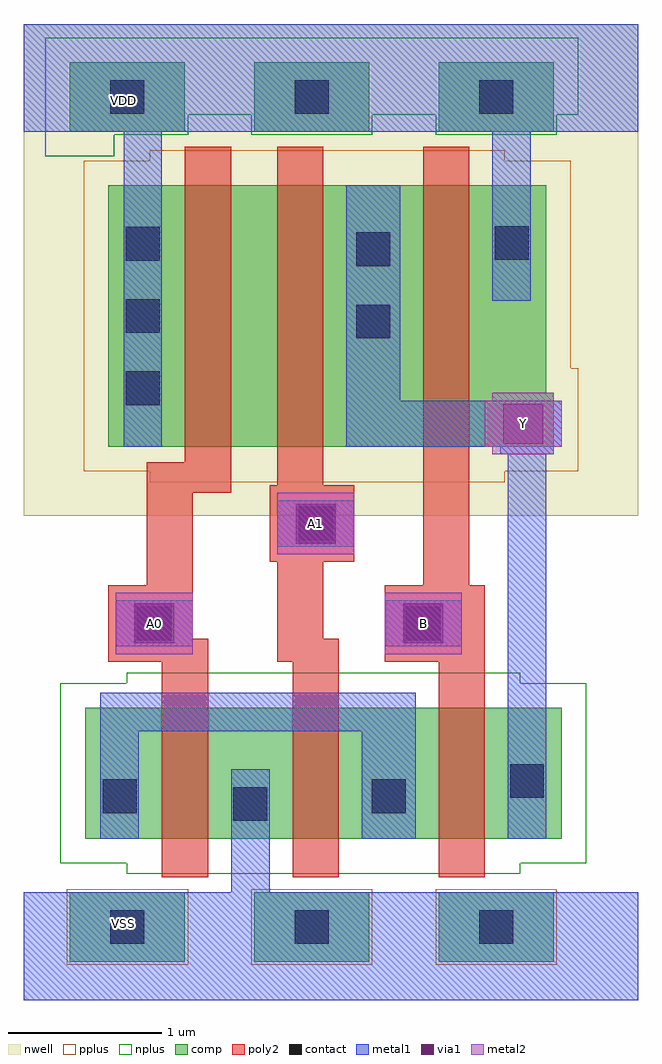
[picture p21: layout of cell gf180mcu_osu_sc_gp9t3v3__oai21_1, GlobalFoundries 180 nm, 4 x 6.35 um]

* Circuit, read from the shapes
.subckt gf180mcu_osu_sc_gp9t3v3__oai21_1 A0 A1 B VDD VSS Y
XM1 VSS A0 n1 VSS nfet_03v3 w=0.85u l=0.3u
XM2 n1 A1 VSS VSS nfet_03v3 w=0.85u l=0.3u
XM3 Y B n1 VSS nfet_03v3 w=0.85u l=0.3u
XM4 n2 A0 VDD VDD pfet_03v3 w=1.7u l=0.3u
XM5 Y A1 n2 VDD pfet_03v3 w=1.7u l=0.3u
XM6 VDD B Y VDD pfet_03v3 w=1.7u l=0.3u
.ends

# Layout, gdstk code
import gdstk
lib = gdstk.Library(unit=1e-6, precision=1e-09)
def R(c, l, rs):  # rectangles x0, y0, x1, y1
    for r in rs: c.add(gdstk.rectangle(r[:2], r[2:], *l))
def A(c, l, x, y, w, h, nx, ny, dx, dy):  # array of equal rectangles
    R(c, l, [(x+i*dx, y+j*dy, x+i*dx+w, y+j*dy+h) for i in range(nx) for j in range(ny)])
nwell = (21, 0)
comp = (22, 0)
poly2 = (30, 0)
pplus = (31, 0)
nplus = (32, 0)
contact = (33, 0)
metal1 = (34, 0)
via1 = (35, 0)
metal2 = (36, 0)

gf180mcu_osu_sc_gp9t3v3_ = lib.new_cell('gf180mcu_osu_sc_gp9t3v3__oai21_1')
R(gf180mcu_osu_sc_gp9t3v3_, nwell, [(0,3.15,4,6.35)])
A(gf180mcu_osu_sc_gp9t3v3_, comp, 0.3, 0.25, 0.75, 0.45, 3, 2, 1.2, 5.4)
R(gf180mcu_osu_sc_gp9t3v3_, comp, [(0.4,1.05,3.5,1.9), (0.55,3.6,3.45,3.95), (0.55,3.95,3.4,5.3)])
R(gf180mcu_osu_sc_gp9t3v3_, poly2, [(0.9,0.8,1.2,2.2), (1.75,0.8,2.05,2.2), (2.7,0.8,3,2.2), (0.55,2.2,1.2,2.35), (1.65,2.2,2.05,2.35), (2.35,2.2,3,2.7), (0.55,2.35,1.1,2.7), (1.65,2.35,1.95,2.85), (0.8,2.7,1.1,3.3), (2.6,2.7,2.9,5.55), (1.6,2.85,2.15,3.35), (0.8,3.3,1.35,3.5), (1.65,3.35,1.95,5.55), (1.05,3.5,1.35,5.55)])
A(gf180mcu_osu_sc_gp9t3v3_, pplus, 0.28, 0.23, 0.79, 0.49, 3, 1, 1.2, 0)
R(gf180mcu_osu_sc_gp9t3v3_, pplus, [(0.82,3.37,3.13,3.44), (0.39,3.44,3.61,4.11), (0.39,4.11,3.56,5.46), (0.82,5.46,3.13,5.53)])
R(gf180mcu_osu_sc_gp9t3v3_, nplus, [(0.67,0.82,3.23,0.89), (0.24,0.89,3.66,2.06), (0.67,2.06,3.23,2.13), (0.14,5.49,0.59,5.63), (0.14,5.63,1.07,5.76), (1.48,5.63,2.27,5.76), (2.68,5.63,3.47,5.76), (0.14,5.76,3.61,6.26)])
A(gf180mcu_osu_sc_gp9t3v3_, contact, 0.565, 0.365, 0.22, 0.22, 3, 2, 1.2, 5.4)
A(gf180mcu_osu_sc_gp9t3v3_, contact, 0.665, 3.87, 0.22, 0.22, 1, 3, 0, 0.47)
R(gf180mcu_osu_sc_gp9t3v3_, contact, [(1.365,1.165,1.585,1.385), (0.515,1.215,0.735,1.435), (2.265,1.215,2.485,1.435), (3.165,1.315,3.385,1.535), (0.74,2.34,0.96,2.56), (2.49,2.34,2.71,2.56), (1.79,2.99,2.01,3.21), (2.165,4.305,2.385,4.525), (2.165,4.775,2.385,4.995), (3.065,4.815,3.285,5.035)])
R(gf180mcu_osu_sc_gp9t3v3_, metal1, [(0,0,4,0.7), (1.35,0.7,1.6,1.5), (0.5,1.05,0.75,1.75), (2.2,1.05,2.55,1.75), (3.15,1.05,3.4,3.55), (0.5,1.75,2.55,2), (0.6,2.3,1.1,2.6), (2.35,2.3,2.85,2.6), (1.65,2.95,2.15,3.25), (3.1,3.55,3.45,3.6), (0.65,3.6,0.9,5.65), (2.1,3.6,3.5,3.9), (2.1,3.9,2.45,5.3), (3.05,4.55,3.3,5.65), (0,5.65,4,6.35)])
R(gf180mcu_osu_sc_gp9t3v3_, via1, [(0.72,2.32,0.98,2.58), (2.47,2.32,2.73,2.58), (1.77,2.97,2.03,3.23), (3.12,3.62,3.38,3.88)])
R(gf180mcu_osu_sc_gp9t3v3_, metal2, [(0.6,2.25,1.1,2.65), (2.35,2.25,2.85,2.65), (1.65,2.9,2.15,3.3), (3.05,3.55,3.45,3.6), (3,3.6,3.5,3.9), (3.05,3.9,3.45,3.95)])
gf180mcu_osu_sc_gp9t3v3_.add(gdstk.Label('VDD', (0.65,5.85), layer=34, texttype=10))
gf180mcu_osu_sc_gp9t3v3_.add(gdstk.Label('VSS', (0.65,0.5), layer=34, texttype=10))
gf180mcu_osu_sc_gp9t3v3_.add(gdstk.Label('A0', (0.85,2.45), layer=36, texttype=10))
gf180mcu_osu_sc_gp9t3v3_.add(gdstk.Label('A1', (1.9,3.1), layer=36, texttype=10))
gf180mcu_osu_sc_gp9t3v3_.add(gdstk.Label('B', (2.6,2.45), layer=36, texttype=10))
gf180mcu_osu_sc_gp9t3v3_.add(gdstk.Label('Y', (3.25,3.75), layer=36, texttype=10))

lib.write_gds('gf180mcu_osu_sc_gp9t3v3__oai21_1.gds')
